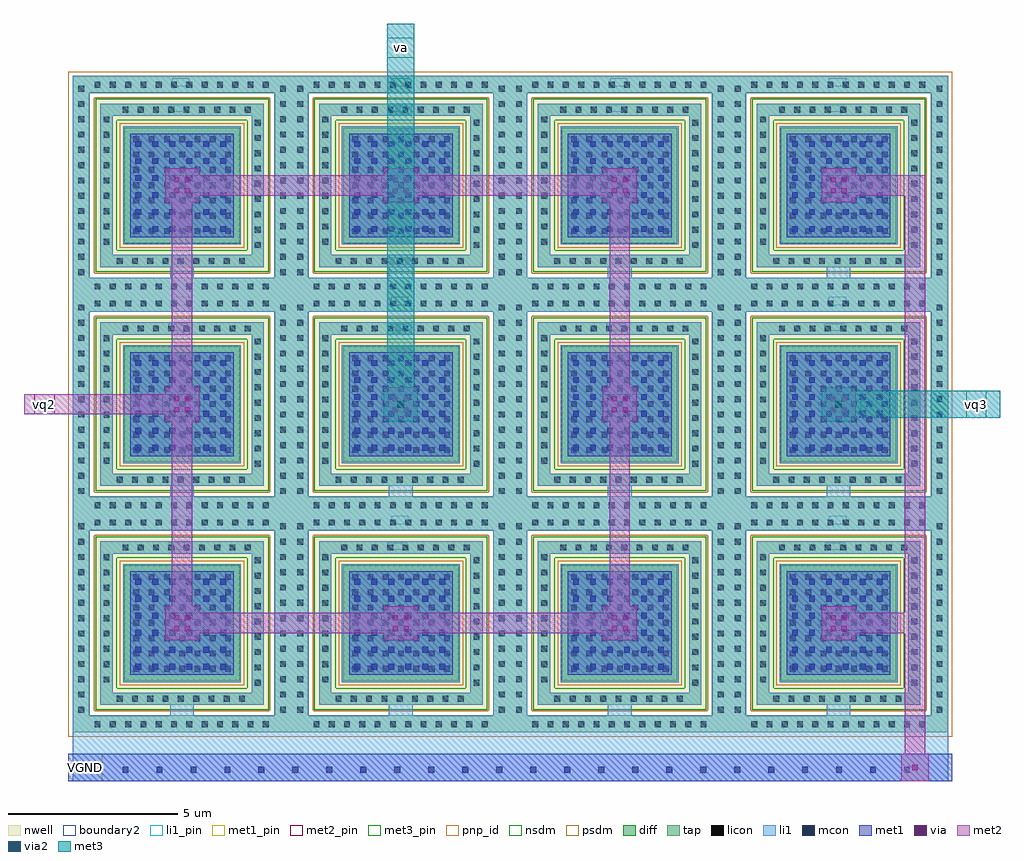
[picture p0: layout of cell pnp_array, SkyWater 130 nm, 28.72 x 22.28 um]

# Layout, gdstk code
import gdstk
lib = gdstk.Library(unit=1e-6, precision=1e-09)
def R(c, l, rs):  # rectangles x0, y0, x1, y1
    for r in rs: c.add(gdstk.rectangle(r[:2], r[2:], *l))
def A(c, l, x, y, w, h, nx, ny, dx, dy):  # array of equal rectangles
    R(c, l, [(x+i*dx, y+j*dy, x+i*dx+w, y+j*dy+h) for i in range(nx) for j in range(ny)])
def P(c, l, *ps):  # polygons
    for p in ps: c.add(gdstk.Polygon(p, *l))
nwell = (64, 20)
diff = (65, 20)
tap = (65, 44)
licon = (66, 44)
li1_pin = (67, 16)
li1 = (67, 20)
mcon = (67, 44)
met1_pin = (68, 16)
met1 = (68, 20)
via = (68, 44)
met2_pin = (69, 16)
met2 = (69, 20)
via2 = (69, 44)
met3_pin = (70, 16)
met3 = (70, 20)
pnp_id = (82, 44)
nsdm = (93, 44)
psdm = (94, 20)
boundary2 = (236, 0)

sky130_fd_pr__rf_pnp_05v = lib.new_cell('sky130_fd_pr__rf_pnp_05v5_W3p40L3p40')
R(sky130_fd_pr__rf_pnp_05v, nwell, [(0.765,0.765,5.935,5.935)])
R(sky130_fd_pr__rf_pnp_05v, diff, [(1.65,1.65,5.05,5.05)])
P(sky130_fd_pr__rf_pnp_05v, tap, [(0.945,0.945),(5.755,0.945),(5.755,5.755),(5.395,5.755),(5.395,1.305),(1.305,1.305),(1.305,5.395),(5.395,5.395),(5.395,5.755),(0.945,5.755)],
  [(0.13,0.13),(6.57,0.13),(6.57,6.57),(6.065,6.57),(6.065,0.635),(0.635,0.635),(0.635,6.065),(6.065,6.065),(6.065,6.57),(0.13,6.57)])
A(sky130_fd_pr__rf_pnp_05v, licon, 0.78, 0.29, 0.17, 0.17, 12, 2, 0.45, 5.935)
A(sky130_fd_pr__rf_pnp_05v, licon, 0.3, 0.71, 0.17, 0.17, 1, 13, 0, 0.45)
A(sky130_fd_pr__rf_pnp_05v, licon, 6.235, 0.71, 0.17, 0.17, 1, 13, 0, 0.45)
A(sky130_fd_pr__rf_pnp_05v, licon, 1.43, 1.04, 0.17, 0.17, 9, 1, 0.45, 0)
A(sky130_fd_pr__rf_pnp_05v, licon, 5.49, 1.51, 0.17, 0.17, 1, 9, 0, 0.45)
A(sky130_fd_pr__rf_pnp_05v, licon, 1.04, 1.605, 0.17, 0.17, 1, 9, 0, 0.45)
A(sky130_fd_pr__rf_pnp_05v, licon, 1.92, 1.92, 0.17, 0.17, 7, 7, 0.45, 0.45)
A(sky130_fd_pr__rf_pnp_05v, licon, 1.6, 5.49, 0.17, 0.17, 9, 1, 0.45, 0)
R(sky130_fd_pr__rf_pnp_05v, li1_pin, [(2.77,3.13,4.01,3.65), (2.95,5.51,3.54,5.71), (3.065,6.26,3.57,6.505)])
A(sky130_fd_pr__rf_pnp_05v, li1, 0.58, 0.21, 0.33, 0.33, 12, 1, 0.45, 0)
A(sky130_fd_pr__rf_pnp_05v, li1, 0.675, 0.24, 0.27, 0.27, 11, 2, 0.5, 5.96)
A(sky130_fd_pr__rf_pnp_05v, li1, 6.16, 0.54, 0.33, 0.33, 1, 13, 0, 0.45)
A(sky130_fd_pr__rf_pnp_05v, li1, 0.22, 0.63, 0.33, 0.33, 1, 13, 0, 0.45)
A(sky130_fd_pr__rf_pnp_05v, li1, 1.35, 0.96, 0.33, 0.33, 9, 1, 0.45, 0)
A(sky130_fd_pr__rf_pnp_05v, li1, 1.14, 0.985, 0.27, 0.27, 9, 1, 0.5, 0)
A(sky130_fd_pr__rf_pnp_05v, li1, 5.41, 1.43, 0.33, 0.33, 1, 9, 0, 0.45)
A(sky130_fd_pr__rf_pnp_05v, li1, 0.96, 1.525, 0.33, 0.33, 1, 9, 0, 0.45)
A(sky130_fd_pr__rf_pnp_05v, li1, 1.84, 1.84, 0.33, 0.33, 7, 7, 0.45, 0.45)
A(sky130_fd_pr__rf_pnp_05v, li1, 1.93, 1.93, 0.27, 0.27, 6, 6, 0.5, 0.5)
A(sky130_fd_pr__rf_pnp_05v, li1, 1.52, 5.41, 0.33, 0.33, 9, 1, 0.45, 0)
A(sky130_fd_pr__rf_pnp_05v, li1, 1.155, 5.44, 0.27, 0.27, 9, 1, 0.5, 0)
A(sky130_fd_pr__rf_pnp_05v, li1, 0.7, 6.165, 0.33, 0.33, 12, 1, 0.45, 0)
R(sky130_fd_pr__rf_pnp_05v, li1, [(1.615,1.615,5.085,5.085), (1.65,1.65,5.05,5.05)])
P(sky130_fd_pr__rf_pnp_05v, li1, [(0.13,0.13),(6.57,0.13),(6.57,6.57),(6.075,6.57),(6.075,0.625),(0.625,0.625),(0.625,6.075),(6.075,6.075),(6.075,6.57),(0.13,6.57)],
  [(0.945,0.945),(5.755,0.945),(5.755,5.755),(5.395,5.755),(5.395,1.305),(1.305,1.305),(1.305,5.395),(5.395,5.395),(5.395,5.755),(0.945,5.755)])
A(sky130_fd_pr__rf_pnp_05v, mcon, 1.98, 1.98, 0.17, 0.17, 6, 6, 0.5, 0.5)
A(sky130_fd_pr__rf_pnp_05v, met1, 1.93, 1.93, 0.27, 0.27, 6, 6, 0.5, 0.5)
R(sky130_fd_pr__rf_pnp_05v, met1, [(1.825,1.825,4.875,4.875)])
R(sky130_fd_pr__rf_pnp_05v, pnp_id, [(0.135,0.135,6.565,6.565)])
P(sky130_fd_pr__rf_pnp_05v, nsdm, [(0.805,0.805),(5.895,0.805),(5.895,5.895),(5.265,5.895),(5.265,1.435),(1.435,1.435),(1.435,5.265),(5.265,5.265),(5.265,5.895),(0.805,5.895)])
R(sky130_fd_pr__rf_pnp_05v, psdm, [(1.52,1.52,5.18,5.18)])
P(sky130_fd_pr__rf_pnp_05v, psdm, [(0,0),(6.7,0),(6.7,6.7),(5.935,6.7),(5.935,0.765),(0.765,0.765),(0.765,5.935),(5.935,5.935),(5.935,6.7),(0,6.7)])
R(sky130_fd_pr__rf_pnp_05v, boundary2, [(0.13,0.13,6.57,6.57)])
sky130_fd_pr__rf_pnp_05v.add(gdstk.Label('Emitter', (3.39,3.39), layer=67, texttype=5))
sky130_fd_pr__rf_pnp_05v.add(gdstk.Label('Collector', (3.32,6.38), layer=67, texttype=5))
sky130_fd_pr__rf_pnp_05v.add(gdstk.Label('Base', (3.245,5.61), layer=67, texttype=5))

pnp_array = lib.new_cell('pnp_array')
A(pnp_array, li1, 3, 0.46, 0.7, 0.845, 4, 3, 6.44, 6.44)
R(pnp_array, li1, [(0.13,-1.3,25.89,0.29)])
A(pnp_array, mcon, 0.6, -1.05, 0.17, 0.17, 25, 1, 1, 0)
R(pnp_array, met1_pin, [(0,-1.3,1,-0.5)])
A(pnp_array, met1, 2.85, 2.85, 1, 1, 4, 3, 6.44, 6.44)
R(pnp_array, met1, [(0,-1.3,26.02,-0.5)])
R(pnp_array, via, [(24.845,-0.975,24.995,-0.825), (3.115,3.115,3.265,3.265), (3.435,3.115,3.585,3.265), (9.555,3.115,9.705,3.265), (9.875,3.115,10.025,3.265), (15.995,3.115,16.145,3.265), (16.315,3.115,16.465,3.265), (22.435,3.115,22.585,3.265), (22.755,3.115,22.905,3.265), (3.115,3.435,3.265,3.585), (3.435,3.435,3.585,3.585), (9.555,3.435,9.705,3.585), (9.875,3.435,10.025,3.585), (15.995,3.435,16.145,3.585), (16.315,3.435,16.465,3.585), (22.435,3.435,22.585,3.585), (22.755,3.435,22.905,3.585), (3.115,9.555,3.265,9.705), (3.435,9.555,3.585,9.705), (9.555,9.555,9.705,9.705), (9.875,9.555,10.025,9.705), (15.995,9.555,16.145,9.705), (16.315,9.555,16.465,9.705), (22.435,9.555,22.585,9.705), (22.755,9.555,22.905,9.705), (3.115,9.875,3.265,10.025), (3.435,9.875,3.585,10.025), (9.555,9.875,9.705,10.025), (9.875,9.875,10.025,10.025), (15.995,9.875,16.145,10.025), (16.315,9.875,16.465,10.025), (22.435,9.875,22.585,10.025), (22.755,9.875,22.905,10.025), (3.115,15.995,3.265,16.145), (3.435,15.995,3.585,16.145), (9.555,15.995,9.705,16.145), (9.875,15.995,10.025,16.145), (15.995,15.995,16.145,16.145), (16.315,15.995,16.465,16.145), (22.435,15.995,22.585,16.145), (22.755,15.995,22.905,16.145), (3.115,16.315,3.265,16.465), (3.435,16.315,3.585,16.465), (9.555,16.315,9.705,16.465), (9.875,16.315,10.025,16.465), (15.995,16.315,16.145,16.465), (16.315,16.315,16.465,16.465), (22.435,16.315,22.585,16.465), (22.755,16.315,22.905,16.465)])
R(pnp_array, met2_pin, [(-1,9.49,-0.4,10.09)])
A(pnp_array, met2, 2.85, 2.85, 1, 0.2, 4, 2, 6.44, 0.8)
A(pnp_array, met2, 9.29, 9.29, 1, 1, 3, 1, 6.44, 0)
A(pnp_array, met2, 2.85, 15.73, 1, 0.2, 4, 2, 6.44, 0.8)
R(pnp_array, met2, [(24.52,-1.3,25.32,-0.5), (24.62,-0.5,25.22,3.05), (2.85,3.05,16.73,3.65), (22.17,3.05,25.22,3.65), (24.62,3.65,25.22,15.93), (3.05,3.85,3.65,9.29), (15.93,3.85,16.53,9.29), (2.85,9.29,3.85,9.49), (-1.3,9.49,3.85,10.09), (2.85,10.09,3.85,10.29), (3.05,10.29,3.65,15.73), (15.93,10.29,16.53,15.73), (2.85,15.93,16.73,16.53), (22.17,15.93,25.22,16.53)])
R(pnp_array, via2, [(9.69,9.69,9.89,9.89), (22.57,9.69,22.77,9.89)])
R(pnp_array, met3_pin, [(26.42,9.39,27.02,10.19), (9.39,19.98,10.19,20.58)])
R(pnp_array, met3, [(9.29,9.29,10.29,10.29), (22.17,9.29,23.17,9.39), (22.17,9.39,27.42,10.19), (22.17,10.19,23.17,10.29), (9.39,10.29,10.19,20.98)])
pnp_array.add(gdstk.Reference(sky130_fd_pr__rf_pnp_05v, (0,0)))
pnp_array.add(gdstk.Reference(sky130_fd_pr__rf_pnp_05v, (6.44,0)))
pnp_array.add(gdstk.Reference(sky130_fd_pr__rf_pnp_05v, (0,6.44)))
pnp_array.add(gdstk.Reference(sky130_fd_pr__rf_pnp_05v, (6.44,6.44)))
pnp_array.add(gdstk.Reference(sky130_fd_pr__rf_pnp_05v, (12.88,0)))
pnp_array.add(gdstk.Reference(sky130_fd_pr__rf_pnp_05v, (12.88,6.44)))
pnp_array.add(gdstk.Reference(sky130_fd_pr__rf_pnp_05v, (19.32,0)))
pnp_array.add(gdstk.Reference(sky130_fd_pr__rf_pnp_05v, (19.32,6.44)))
pnp_array.add(gdstk.Reference(sky130_fd_pr__rf_pnp_05v, (0,12.88)))
pnp_array.add(gdstk.Reference(sky130_fd_pr__rf_pnp_05v, (6.44,12.88)))
pnp_array.add(gdstk.Reference(sky130_fd_pr__rf_pnp_05v, (12.88,12.88)))
pnp_array.add(gdstk.Reference(sky130_fd_pr__rf_pnp_05v, (19.32,12.88)))
pnp_array.add(gdstk.Label('vq2', (-0.7,9.79), layer=69, texttype=5))
pnp_array.add(gdstk.Label('va', (9.79,20.28), layer=70, texttype=5))
pnp_array.add(gdstk.Label('vq3', (26.72,9.79), layer=70, texttype=5))
pnp_array.add(gdstk.Label('VGND', (0.5,-0.9), layer=68, texttype=5))

lib.write_gds('pnp_array.gds')
